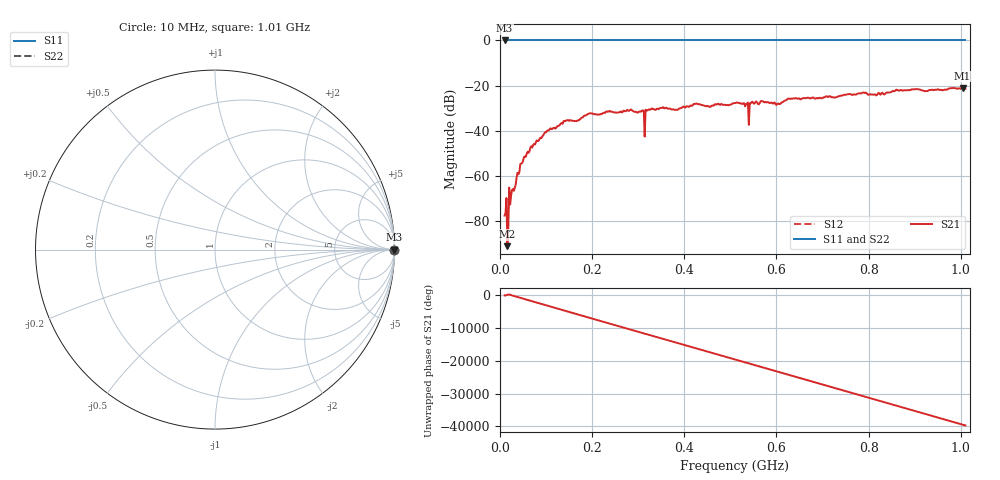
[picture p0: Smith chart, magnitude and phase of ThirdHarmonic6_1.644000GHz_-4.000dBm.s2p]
! 8/16/2025 7:40:07 PM
! C:\ANRITSUVNA\TEMP\TEMP.S2P
! CHANNEL.1
! TR.MEASUREMENT
! RAW.DATA
! RF.CORRECTION.OFF
! AVERAGING.OFF
! IF.BANDWIDTH: 5KHZ
! SWEEPTYPE:  FREQ.SWEEP(Linear)
! Reference Plane Port Info
! PORT:  PORT1  PORT2
! DISTANCE:  0  m  0  m
! TIME:  0  s  0  s
! PHASE.OFFSET:  0  deg.  0  deg.
! LOSS:  0  dB  0  dB
! REF.LOSS:  0  dB  0  dB
! REF.FREQ:  0  Hz  0  Hz
! Power Info
! POWER:  -20  dBm  -20  dBm
! EFF.POWER:  -20  dBm  -20  dBm
! SOURCE.ATTEN:  0  dB  0  dB
! TEST.ATTEN:  0  dB  0  dB
# GHZ S RI R 50.0
! FREQ.GHZ  S11RE  S11IM  S21RE  S21IM  S12RE  S12IM  S22RE  S22IM
!; PortSelection: Port_12
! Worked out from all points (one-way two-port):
!   501 points, 10 MHz to 1.01 GHz, reference 50 ohm
!   highest |S21| = -20.99 dB at 1.004 GHz (marker M1); lowest = -91.0 dB at 16 MHz (marker M2)
!   lowest |S11| = 0.0 dB at 10 MHz (marker M3)
!   |S11| at or under -10 dB: nowhere
!   |S22| runs from 0.0 to 0.0 dB; largest |S21 - S12| = 1.1
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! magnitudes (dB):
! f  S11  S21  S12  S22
! 10 MHz  0.0  -77.5  0.0  0.0
! 14 MHz  0.0  -69.7  0.0  0.0
! 16 MHz  0.0  -91.0  0.0  0.0
! 20 MHz  0.0  -65.1  0.0  0.0
! 48 MHz  0.0  -54.3  0.0  0.0
! 70 MHz  0.0  -47.4  0.0  0.0
! 106 MHz  0.0  -39.8  0.0  0.0
! 178 MHz  0.0  -34.1  0.0  0.0
! 280 MHz  0.0  -31.2  0.0  0.0
! 308 MHz  0.0  -31.1  0.0  0.0
! 310 MHz  0.0  -30.9  0.0  0.0
! 318 MHz  0.0  -30.9  0.0  0.0
! 320 MHz  0.0  -31.0  0.0  0.0
! 344 MHz  0.0  -30.5  0.0  0.0
! 510 MHz  0.0  -27.7  0.0  0.0
! 534 MHz  0.0  -28.2  0.0  0.0
! 536 MHz  0.0  -27.9  0.0  0.0
! 546 MHz  0.0  -27.3  0.0  0.0
! 678 MHz  0.0  -25.3  0.0  0.0
! 844 MHz  0.0  -23.1  0.0  0.0
! 1.004 GHz  0.0  -21.0  0.0  0.0
! 1.01 GHz  0.0  -21.4  0.0  0.0
